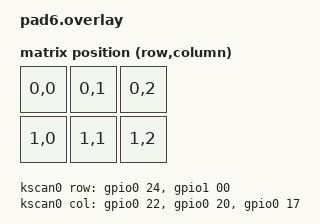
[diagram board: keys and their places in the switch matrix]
#include <dt-bindings/zmk/matrix_transform.h>

/ {
    chosen {
        zephyr,display = &oled;
        zmk,kscan = &kscan0;
    };

    default_transform: keymap_transform_0 {
        compatible = "zmk,matrix-transform";
        columns = <3>;
        rows = <2>;

        map = <
        RC(0,0) RC(0,1) RC(0,2)  
        RC(1,0) RC(1,1) RC(1,2)

        >;
    };

    kscan0: kscan_0 {
        compatible = "zmk,kscan-gpio-matrix";
        label = "KSCAN";
        diode-direction = "col2row";

        col-gpios
            = <&gpio0 22 GPIO_ACTIVE_HIGH>
            , <&gpio0 20 GPIO_ACTIVE_HIGH>
            , <&gpio0 17 GPIO_ACTIVE_HIGH>
            ;

        row-gpios
            = <&gpio0 24 (GPIO_ACTIVE_HIGH | GPIO_PULL_DOWN)>
            , <&gpio1 00 (GPIO_ACTIVE_HIGH | GPIO_PULL_DOWN)>
            ;
    };

    &pro_micro_i2c {
    status = "okay";

    oled: ssd1306@3c {
        compatible = "solomon,ssd1306fb";
        reg = <0x3c>;
        label = "DISPLAY";
        width = <128>;
        height = <32>;
        segment-offset = <0>;
        page-offset = <0>;
        display-offset = <0>;
        multiplex-ratio = <31>;
        segment-remap;
        com-invdir;
        com-sequential;
        prechargep = <0x22>;
    };
};
